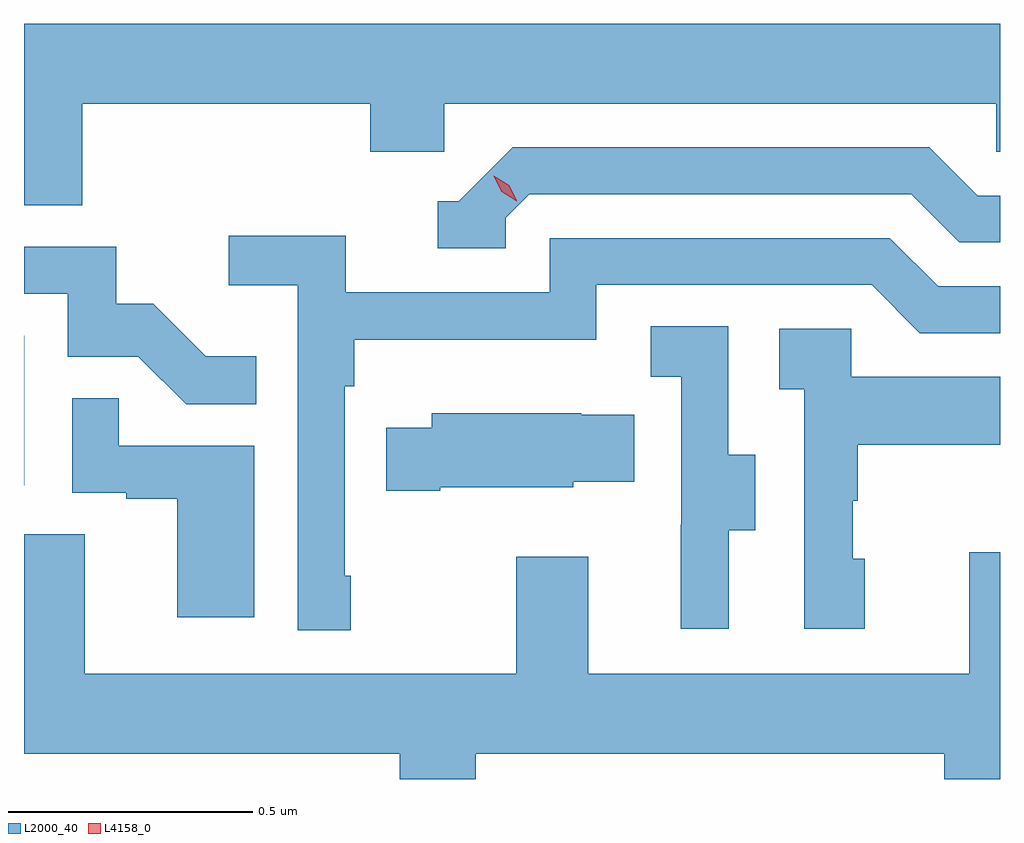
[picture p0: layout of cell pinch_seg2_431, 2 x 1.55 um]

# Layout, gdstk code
import gdstk
lib = gdstk.Library(unit=1e-6, precision=1e-09)
def R(c, l, rs):  # rectangles x0, y0, x1, y1
    for r in rs: c.add(gdstk.rectangle(r[:2], r[2:], *l))
def P(c, l, *ps):  # polygons
    for p in ps: c.add(gdstk.Polygon(p, *l))
L2000_40 = (2000, 40)
L4158_0 = (4158, 0)

pinch_seg2_431 = lib.new_cell('pinch_seg2_431')
R(pinch_seg2_431, L2000_40, [(925.167,609.558,925.168,609.865)])
P(pinch_seg2_431, L2000_40, [(925.167,610.132),(925.286,610.132),(925.286,610.34),(925.877,610.34),(925.877,610.242),(926.028,610.242),(926.028,610.34),(927.159,610.34),(927.159,610.242),(927.167,610.242),(927.167,610.504),(925.167,610.504)],
  [(926.154,610.107),(926.202,610.155),(926.985,610.155),(927.084,610.056),(927.167,610.056),(927.167,610.152),(927.121,610.152),(927.022,610.251),(926.169,610.251),(926.058,610.14),(926.015,610.14),(926.015,610.044),(926.154,610.044)],
  [(925.837,609.373),(925.824,609.373),(925.824,609.761),(925.844,609.761),(925.844,609.857),(926.34,609.857),(926.34,609.969),(926.904,609.969),(927.003,609.87),(927.167,609.87),(927.167,609.966),(927.04,609.966),(926.941,610.065),(926.244,610.065),(926.244,609.954),(925.826,609.954),(925.826,610.07),(925.587,610.07),(925.587,609.968),(925.728,609.968),(925.728,609.261),(925.837,609.261)],
  [(925.643,609.823),(925.539,609.823),(925.432,609.93),(925.356,609.93),(925.356,610.047),(925.167,610.047),(925.167,609.951),(925.257,609.951),(925.257,609.822),(925.401,609.822),(925.499,609.724),(925.643,609.724)],
  [(926.611,609.466),(926.665,609.466),(926.665,609.621),(926.61,609.621),(926.61,609.884),(926.451,609.884),(926.451,609.781),(926.514,609.781),(926.514,609.477),(926.513,609.477),(926.513,609.264),(926.611,609.264)],
  [(926.89,609.408),(926.865,609.408),(926.865,609.527),(926.875,609.527),(926.875,609.641),(927.167,609.641),(927.167,609.781),(926.862,609.781),(926.862,609.879),(926.715,609.879),(926.715,609.755),(926.766,609.755),(926.766,609.264),(926.89,609.264)],
  [(925.639,609.639),(925.361,609.639),(925.361,609.737),(925.266,609.737),(925.266,609.543),(925.377,609.543),(925.377,609.531),(925.481,609.531),(925.481,609.288),(925.639,609.288)],
  [(926.02,609.554),(926.292,609.554),(926.292,609.566),(926.417,609.566),(926.417,609.703),(926.309,609.703),(926.309,609.706),(926.003,609.706),(926.003,609.676),(925.909,609.676),(925.909,609.547),(926.02,609.547)],
  [(926.093,609.008),(927.053,609.008),(927.053,608.956),(927.167,608.956),(927.167,609.421),(927.104,609.421),(927.104,609.172),(926.323,609.172),(926.323,609.412),(926.176,609.412),(926.176,609.172),(925.291,609.172),(925.291,609.458),(925.167,609.458),(925.167,609.008),(925.937,609.008),(925.937,608.956),(926.093,608.956)])
P(pinch_seg2_431, L4158_0, [(926.177,610.14),(926.146,610.16),(926.13,610.192),(926.13,610.193),(926.13,610.193),(926.161,610.173),(926.177,610.141),(926.177,610.14)])

lib.write_gds('pinch_seg2_431.gds')
